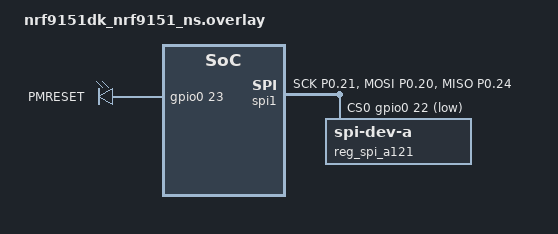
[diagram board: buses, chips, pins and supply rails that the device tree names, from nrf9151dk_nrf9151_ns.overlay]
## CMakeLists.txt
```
# SPDX-License-Identifier: Apache-2.0

cmake_minimum_required(VERSION 3.20.0)
find_package(Zephyr REQUIRED HINTS $ENV{ZEPHYR_BASE})
project(pat8002230VM)

target_sources(app PRIVATE src/main.c)
target_sources(app PRIVATE src/atm90e36aaurReadAndWrite.c)
target_sources(app PRIVATE src/powerMeterFiltering.c)
```

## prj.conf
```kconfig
#Enable logging
CONFIG_LOG=y
CONFIG_LOG_MODE_IMMEDIATE=y
CONFIG_LOG_DEFAULT_LEVEL=3
CONFIG_CBPRINTF_FP_SUPPORT=y

#Enable GPIO
CONFIG_GPIO=y

#Enable SPI
CONFIG_SPI=y
CONFIG_SPI_ASYNC=y
CONFIG_SPI_SLAVE=y

#UART1 is used for TF-M logging and must be disabled if using SPI
CONFIG_TFM_SECURE_UART=n
CONFIG_TFM_LOG_LEVEL_SILENCE=y

#Prevent the system from restarting on fatal error
CONFIG_RESET_ON_FATAL_ERROR=n

#Set the stack size
CONFIG_MAIN_STACK_SIZE=8192


#Config for making the project low power
#CONFIG_SERIAL=n
#CONFIG_TFM_LOG_LEVEL_SILENCE=y

# Heap and stacks
CONFIG_HEAP_MEM_POOL_SIZE=1024

CONFIG_SYSTEM_WORKQUEUE_STACK_SIZE=2048

CONFIG_NEWLIB_LIBC=y
CONFIG_NEWLIB_LIBC_FLOAT_PRINTF=y
```

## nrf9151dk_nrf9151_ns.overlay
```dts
/ {
	leds{
		compatible ="gpio-leds";
		led1:led_1 {
			gpios = <&gpio0 23 GPIO_ACTIVE_HIGH>;
			label = "PMRESET";
		};
	};
};

&pinctrl {
	spi_master_default: spi_master_default {
		group1 {
			psels = <NRF_PSEL(SPIM_SCK, 0, 21)>,
					<NRF_PSEL(SPIM_MOSI, 0, 20)>,
					<NRF_PSEL(SPIM_MISO, 0, 24)>;
					nordic,drive-mode = <NRF_DRIVE_H0H1>;
		};
	};

	spi_master_sleep: spi_master_sleep {
		group1 {
			psels = <NRF_PSEL(SPIM_SCK, 0, 21)>,
					<NRF_PSEL(SPIM_MOSI, 0, 20)>,
					<NRF_PSEL(SPIM_MISO, 0, 24)>;
					nordic,drive-mode = <NRF_DRIVE_H0H1>;	
			low-power-enable;
		};
	};
};

spi_a121: &spi1 {
	compatible = "nordic,nrf-spim";
	status = "okay";
	pinctrl-0 = <&spi_master_default>;
	pinctrl-1 = <&spi_master_sleep>;
	pinctrl-names = "default", "sleep";
	cs-gpios = <&gpio0 22 GPIO_ACTIVE_LOW>;
	reg_spi_a121: spi-dev-a@0 {
		reg = <0>;
	};
};

// Disable UART1, because it is used by default in TF-M
&uart1 {
	status = "disabled";
};

&button0 {
	status = "disabled";
};

&button1 {
	status = "disabled";
};

&button2 {
	status = "disabled";
};

&button3 {
	status = "disabled";
};

&led0 {
	status = "disabled";
};

&led2 {
	status = "disabled";
};

&led3 {
	status = "disabled";
};

&spi3 {
	status = "disabled";
};
```

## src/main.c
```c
#include <zephyr/kernel.h>
#include <zephyr/drivers/gpio.h>
#include <stdio.h>

#include "atm90e36aaurReadAndWrite.h"
#include "powerMeterFiltering.h"

filterData uRmsA;
filterData iRmsA;
filterData pMeanA;
filterData pfMeanA;

int main(void)
{
	printf("Main started\n");
	
	atm90e36aaurInit();
	atm90e36aaurCalibration(USE_INTERNAL_CALIBRATION_VALUES);

	while(1)
	{
		//URms
		addNewValue(atm90e36aaurGetURms(UrmsA), &uRmsA);

		//IRms
		addNewValue(atm90e36aaurGetIRms(IrmsA), &iRmsA);

		//PMean
		addNewValue(atm90e36aaurGetPMean(PmeanA), &pMeanA);

		//PFMean
		addNewValue(atm90e36aaurGetPFMean(PFmeanA), &pfMeanA);
		
		printf("Urms : %.2fV - Max %.2f - Min %.2f\nIrms : %.3fA - Max %.2f - Min %.2f\nPmean : %.2fW - Max %.2f - Min %.2f\nPFmean : %.2f - Max %.2f - Min %.2f\n", 
			getAvgValue(&uRmsA), getMaxValue(&uRmsA), getMinValue(&uRmsA),
			getAvgValue(&iRmsA), getMaxValue(&iRmsA), getMinValue(&iRmsA), 
			getAvgValue(&pMeanA), getMaxValue(&pMeanA), getMinValue(&pMeanA),
			getAvgValue(&pfMeanA), getMaxValue(&pfMeanA), getMinValue(&pfMeanA)
		);
		
		printf("\n");
		k_sleep(K_MSEC(1000));
	}
	return 0;
}
```

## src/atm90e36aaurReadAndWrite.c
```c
#include <stdbool.h>
#include <stdint.h>
#include <string.h>
#include <stdio.h>

#include <zephyr/kernel.h>
#include <zephyr/device.h>
#include <zephyr/devicetree.h>
#include <zephyr/drivers/gpio.h>
#include <zephyr/drivers/spi.h>
#include <zephyr/logging/log.h>

#include "atm90e36aaurReadAndWrite.h"

LOG_MODULE_REGISTER(atm90e36aaur,LOG_LEVEL_INF);

#define PM_RESET_N DT_ALIAS(atm90reset)

#define MY_SPI_MASTER DT_NODELABEL(spi_atm90)
#define MY_SPI_MASTER_CS_DT_SPEC SPI_CS_GPIOS_DT_SPEC_GET(DT_NODELABEL(reg_spi_a121))

#define SPI_MAX_TRANSFER_SIZE 64

char msgBuffer[128];

static const struct gpio_dt_spec pmResetN = GPIO_DT_SPEC_GET(PM_RESET_N, gpios);

const struct device *spi_dev;

static struct spi_config spi_cfg = 
{
	.operation = SPI_WORD_SET(8) | SPI_TRANSFER_MSB | SPI_OP_MODE_MASTER,
	.frequency = 125000, //This can at the most, in the case of the ATM90E36AAUR, be 150kHz according to datasheet
	.slave = 0,
	.cs = {.gpio = MY_SPI_MASTER_CS_DT_SPEC, .delay = 0},
};

int atm90e36aaurInit()
{
    int err;

	LOG_INF("atm90e36aaurInit");

	spi_dev = DEVICE_DT_GET(MY_SPI_MASTER);
	if(!device_is_ready(spi_dev))
    {
		LOG_INF("SPI master device not ready!\n");
        return -1;
	}
	struct gpio_dt_spec spim_cs_gpio = MY_SPI_MASTER_CS_DT_SPEC;
	if(!device_is_ready(spim_cs_gpio.port))
    {
		LOG_INF("SPI master chip select device not ready!\n");
        return -1;
	} 

    if (!gpio_is_ready_dt(&pmResetN)) 
	{
		LOG_ERR("Gpio not ready");
		return -1;
	} 

    err = gpio_pin_configure_dt(&pmResetN, GPIO_OUTPUT_ACTIVE);
	if (err < 0) 
	{
		LOG_ERR("Config failed");
		return -1;
	}

    err = gpio_pin_set_dt(&pmResetN,true);
	if (err != 0) 
	{
		LOG_ERR("Pin set failed");
		return -1;
	}

    k_sleep(K_SECONDS(1));

    err = gpio_pin_set_dt(&pmResetN,false);
	if (err != 0) 
	{
		LOG_ERR("Pin set failed");
		return -1;
	}

    k_sleep(K_SECONDS(1));

    err = gpio_pin_set_dt(&pmResetN,true);
	if (err != 0) 
	{
		LOG_ERR("Pin set failed");
		return -1;
	}
    
    return 0;
}


//Takes an address to read from as parameter and then returns the value read
//Do note that the reason the tx buffer uses a array with 4 index declared is due to both a quirk in the SPI Zephyr api
//And the fact that after the 2 byte address does the ATM need 16 additional clock periods to be able to return the data
int atm90e36aaurReadFromAddress(uint16_t registerAddress, char* dataFromAtm)
{
    static uint8_t txBuffer[4];

    const struct spi_buf tx_buf = 
    {
        .buf = txBuffer,
        .len = sizeof(txBuffer),
    };
    const struct spi_buf_set tx = 
    {
        .buffers = &tx_buf,
        .count = 1,
    };

    struct spi_buf rx_buf = 
    {
        .buf = dataFromAtm,
        .len = sizeof(dataFromAtm),
    };
    const struct spi_buf_set rx = 
    {
        .buffers = &rx_buf,
        .count = 1,
    };

    txBuffer[0]=(uint8_t)((registerAddress & 0xFF00) >> 8);

    //Set the msb to 1 to indicate a read sequence
    txBuffer[0] |= 1 << 7;

    txBuffer[1]=(uint8_t)(registerAddress & 0x00FF);
    txBuffer[2]=0x00;
    txBuffer[3]=0x00;
    
    int err;
    err = spi_transceive(spi_dev,&spi_cfg,&tx, &rx);
    if(err != 0)
    {
        LOG_ERR("Error occured in transceive function!");
        return -1;
    }
        
   k_sleep(K_MSEC(1));

    return 0;
}

int atm90e36aaurWriteToAddress(uint16_t registerAddress, uint16_t data)
{
    int err;
    static uint8_t txBuffer[4];
    uint16_t lastSpiSent;

    const struct spi_buf tx_buf = 
    {
        .buf = txBuffer,
        .len = sizeof(txBuffer),
    };
    const struct spi_buf_set tx = 
    {
        .buffers = &tx_buf,
        .count = 1,
    };

    txBuffer[0] = (uint8_t)((registerAddress & 0x7F00) >> 8);
    //Clear the msb to 0 to indicate a write sequence
    //txBuffer[0] &= ~(1<<7);

    txBuffer[1] = (uint8_t)(registerAddress & 0x00FF);
    txBuffer[2] = (uint8_t)((data & 0xFF00) >> 8);
    txBuffer[3] = (uint8_t)(data & 0x00FF);

    lastSpiSent = txBuffer[2]*256+txBuffer[3];

    err = spi_write(spi_dev,&spi_cfg,&tx);
        if(err != 0)
    {
        LOG_ERR("Error occurred in write function!");
        return -1;
    }
    k_sleep(K_MSEC(1));
    return 0;
}

#define DEBUG_OFFSET_VAL 0xFFFF

void calibrateGain(uint16_t measureAddress, uint16_t measureAddressLsb, uint16_t gainAddress, double reference, uint16_t intFactor, double decimalFactor)
{
    char dataFromAtmBuffer[4];

    double measuredValueDouble = 0;
    double totalMeasuredValue = 0;
    uint16_t measuredHex;
    uint16_t measuredLsbHex;
    uint16_t gainHex;    
    uint16_t returnVal;

    // Take 10 measurements and calculate the average
    for (int i = 0; i < 10; i++)
    {
        atm90e36aaurReadFromAddress(measureAddress, dataFromAtmBuffer);
        measuredHex = (uint16_t)((uint16_t)dataFromAtmBuffer[2] << 8) | (uint16_t)dataFromAtmBuffer[3];
        
        atm90e36aaurReadFromAddress(measureAddressLsb, dataFromAtmBuffer);
        measuredLsbHex = dataFromAtmBuffer[2]; // We're only interested in the higher bits

        measuredValueDouble = ((double)measuredHex * decimalFactor) + (measuredLsbHex * decimalFactor / 256);
        totalMeasuredValue += measuredValueDouble;
        k_sleep(K_MSEC(10));
    }

    double averageMeasuredValue = totalMeasuredValue / 10;

    gainHex = (reference/averageMeasuredValue) * intFactor;

    atm90e36aaurWriteToAddress(gainAddress, gainHex);

    //Debug read from atm to ensure correct value was written
    atm90e36aaurReadFromAddress(gainAddress,dataFromAtmBuffer);

    returnVal = (uint16_t) ((uint16_t) dataFromAtmBuffer[2] << 8) | (uint16_t) dataFromAtmBuffer[3];
    if(returnVal != gainHex)
    {
        LOG_ERR("Gain value read from register does not match the entered value!");
        LOG_ERR("Expected:%x, Got:%x",gainHex,returnVal);
    }
    else
    {
        LOG_INF("Gain value from ATM90E36 value:%x:%x",dataFromAtmBuffer[2],dataFromAtmBuffer[3]);
    }
}

void calibrateOffsetVoltOrCurrent(uint16_t measureAddress, uint16_t offsetAddress)
{
    char dataFromAtmBuffer[4];
    uint16_t measuredHex;
    uint16_t measured2ComplementHex;
    uint16_t returnVal;
    double totalMeasuredValue = 0;

    //Take 10 measurements and calculate the average
    for (int i = 0; i < 10; i++)
    {
        atm90e36aaurReadFromAddress(measureAddress, dataFromAtmBuffer);

        measuredHex = (uint16_t)((uint16_t)dataFromAtmBuffer[2] << 8) | (uint16_t)dataFromAtmBuffer[3];
        totalMeasuredValue += measuredHex;
    }

    uint16_t averageMeasuredHex = (uint16_t)(totalMeasuredValue / 10);

    //Calculate two's complement of the average value
    measured2ComplementHex = ~averageMeasuredHex + 1;

    atm90e36aaurWriteToAddress(offsetAddress, measured2ComplementHex);

    //Debug read from ATM to ensure correct value was written
    atm90e36aaurReadFromAddress(offsetAddress, dataFromAtmBuffer);

    returnVal = (uint16_t)((uint16_t)dataFromAtmBuffer[2] << 8) | (uint16_t)dataFromAtmBuffer[3];
    if (returnVal != measured2ComplementHex)
    {
        LOG_ERR("Offset value read from register does not match the entered value!");
        LOG_ERR("Expected:%x, Got:%x", measured2ComplementHex, returnVal);
    }
    else
    {
        LOG_INF("Offset value from ATM90E36 value:%x:%x", dataFromAtmBuffer[2], dataFromAtmBuffer[3]);
    }
}

void calibrateOffsetPower(uint16_t measureAddress, uint16_t offsetAddress)
{
    char dataFromAtmBuffer[4];

    uint16_t measuredHex;
    uint16_t measured2ComplementHex;

    uint16_t returnVal;

    atm90e36aaurReadFromAddress(measureAddress,dataFromAtmBuffer);

    measuredHex = (uint16_t) ((uint16_t) dataFromAtmBuffer[2] << 8) | (uint16_t) dataFromAtmBuffer[3];

    measured2ComplementHex = ~measuredHex + 1;

    atm90e36aaurWriteToAddress(offsetAddress, measured2ComplementHex);

    //Debug read from atm to ensure correct value was written
    atm90e36aaurReadFromAddress(offsetAddress,dataFromAtmBuffer);

    returnVal = (uint16_t) ((uint16_t) dataFromAtmBuffer[2] << 8) | (uint16_t) dataFromAtmBuffer[3];
    if(returnVal != measured2ComplementHex)
    {
        LOG_ERR("Offset value read from register does not match the entered value!");
        LOG_ERR("Expected:%x, Got:%x",measured2ComplementHex,returnVal);
    }
    else
    {
        LOG_INF("Offset value from ATM90E36 value:%x:%x",dataFromAtmBuffer[2],dataFromAtmBuffer[3]);
    }
}

//Calibrates the ATM, which must be done before normal use
//The useInternalCalibrationValues parameter is used to determine if the internal calibration values should be used or not
//If not used will it require the user to connected a reference voltage, current, power and pf to the ATM90E36A
//If used will the ATM90E36A use the internal calibration values, which are pre calibrated at the factory
int atm90e36aaurCalibration(bool useInternalCalibrationValues)
{
    char dataFromAtmBuffer[4];

    atm90e36aaurWriteToAddress(SoftReset,0x789A);

    atm90e36aaurWriteToAddress(SoftReset, 0x789A);   // Perform soft reset
    atm90e36aaurWriteToAddress(FuncEn0, 0x0000);     // Voltage sag
    atm90e36aaurWriteToAddress(FuncEn1, 0x0000);     // Voltage sag
    atm90e36aaurWriteToAddress(SagTh, 0x0001);       // Voltage sag threshold

    /* SagTh = Vth * 100 * sqrt(2) / (2 * Ugain / 32768) */
    
    //Set metering config values (CONFIG)
    atm90e36aaurWriteToAddress(ConfigStart, 0x5678); // Metering calibration startup 
    atm90e36aaurWriteToAddress(PLconstH, 0x0861);    // PL Constant MSB (default)
    atm90e36aaurWriteToAddress(PLconstL, 0xC468);    // PL Constant LSB (default)
    atm90e36aaurWriteToAddress(MMode0, 0x1087);      // Mode Config (60 Hz, 3P4W)
    atm90e36aaurWriteToAddress(MMode1, 0x0000);      // PGA gain for 4 current channels = 1 and PGA gain for all adc channels = 1x
    atm90e36aaurWriteToAddress(PStartTh, 0x0000);    // Active Startup Power Threshold
    atm90e36aaurWriteToAddress(QStartTh, 0x0000);    // Reactive Startup Power Threshold
    atm90e36aaurWriteToAddress(SStartTh, 0x0000);    // Apparent Startup Power Threshold
    atm90e36aaurWriteToAddress(PPhaseTh, 0x0000);    // Active Phase Threshold
    atm90e36aaurWriteToAddress(QPhaseTh, 0x0000);    // Reactive Phase Threshold
    atm90e36aaurWriteToAddress(SPhaseTh, 0x0000);    // Apparent  Phase Threshold
    atm90e36aaurWriteToAddress(CSZero, 0x4741);      // Checksum 0 MOD(E1D0,)
    
    //Set metering calibration values (CALIBRATION)
    atm90e36aaurWriteToAddress(CalStart, 0x5678);    // Metering calibration startup 
    atm90e36aaurWriteToAddress(GainA, 0x0000);       // Line calibration gain
    atm90e36aaurWriteToAddress(PhiA, 0x0000);        // Line calibration angle
    atm90e36aaurWriteToAddress(GainB, 0x0000);       // Line calibration gain
    atm90e36aaurWriteToAddress(PhiB, 0x0000);        // Line calibration angle
    atm90e36aaurWriteToAddress(GainC, 0x0000);       // Line calibration gain
    atm90e36aaurWriteToAddress(PhiC, 0x0000);        // Line calibration angle
    atm90e36aaurWriteToAddress(PoffsetA, 0x0000);    // A line active power offset
    atm90e36aaurWriteToAddress(QoffsetA, 0x0000);    // A line reactive power offset
    atm90e36aaurWriteToAddress(PoffsetB, 0x0000);    // B line active power offset
    atm90e36aaurWriteToAddress(QoffsetB, 0x0000);    // B line reactive power offset
    atm90e36aaurWriteToAddress(PoffsetC, 0x0000);    // C line active power offset
    atm90e36aaurWriteToAddress(QoffsetC, 0x0000);    // C line reactive power offset
    atm90e36aaurWriteToAddress(CSOne, 0x0000);       // Checksum 1
    
    //Set metering calibration values (HARMONIC)
    atm90e36aaurWriteToAddress(HarmStart, 0x5678);   // Metering calibration startup 
    atm90e36aaurWriteToAddress(POffsetAF, 0x0000);   // A Fund. active power offset
    atm90e36aaurWriteToAddress(POffsetBF, 0x0000);   // B Fund. active power offset
    atm90e36aaurWriteToAddress(POffsetCF, 0x0000);   // C Fund. active power offset
    atm90e36aaurWriteToAddress(PGainAF, 0x0000);     // A Fund. active power gain
    atm90e36aaurWriteToAddress(PGainBF, 0x0000);     // B Fund. active power gain
    atm90e36aaurWriteToAddress(PGainCF, 0x0000);     // C Fund. active power gain
    atm90e36aaurWriteToAddress(CSTwo, 0x0000);       // Checksum 2 
    atm90e36aaurReadFromAddress(SysStatus0,dataFromAtmBuffer);
    LOG_INF("SysStatus0:%x:%x",dataFromAtmBuffer[2],dataFromAtmBuffer[3]);

    //Set measurement calibration values (ADJUST)
    atm90e36aaurWriteToAddress(AdjStart, 0x5678);    // Measurement calibration

    
    if(useInternalCalibrationValues == true)
    {
       //Use internal calibration values
       LOG_INF("Using internal calibration values");
       atm90e36aaurWriteToAddress(UgainA, CALIBRATION_VOLTAGE_GAIN_FACTORY);           // Line calibration gain
       atm90e36aaurWriteToAddress(UoffsetA, CALIBRATION_VOLTAGE_OFFSET_FACTORY);       // Line calibration offset
       atm90e36aaurWriteToAddress(IgainA, CALIBRATION_CURRENT_GAIN_FACTORY);           // Line calibration gain
       atm90e36aaurWriteToAddress(IoffsetA, CALIBRATION_CURRENT_OFFSET_FACTORY);       // Line calibration offset

       atm90e36aaurWriteToAddress(UgainB, CALIBRATION_VOLTAGE_GAIN_FACTORY);           // Line calibration gain
       atm90e36aaurWriteToAddress(UoffsetB, CALIBRATION_VOLTAGE_OFFSET_FACTORY);       // Line calibration offset
       atm90e36aaurWriteToAddress(IgainB, CALIBRATION_CURRENT_GAIN_FACTORY);           // Line calibration gain
       atm90e36aaurWriteToAddress(IoffsetB, CALIBRATION_CURRENT_OFFSET_FACTORY);       // Line calibration offset

       atm90e36aaurWriteToAddress(UgainC, CALIBRATION_VOLTAGE_GAIN_FACTORY);           // Line calibration gain
       atm90e36aaurWriteToAddress(UoffsetC, CALIBRATION_VOLTAGE_OFFSET_FACTORY);       // Line calibration offset
       atm90e36aaurWriteToAddress(IgainC, CALIBRATION_CURRENT_GAIN_FACTORY);           // Line calibration gain
       atm90e36aaurWriteToAddress(IoffsetC, CALIBRATION_CURRENT_OFFSET_FACTORY);       // Line calibration offset

       atm90e36aaurWriteToAddress(IgainN, CALIBRATION_CURRENT_OFFSET_FACTORY_N);       // Line calibration gain
    }
    else
    {
        //Use external calibration values
        LOG_INF("Using external calibration values");
        LOG_INF("Calibrating UgainA");
        calibrateGain(UrmsA, UrmsALSB, UgainA, CALIBRATION_VOLTAGE, 52800, 0.01);

        LOG_INF("Calibrating UoffsetA");
        calibrateOffsetVoltOrCurrent(UrmsA, UoffsetA);

        LOG_INF("Calibrating IgainA");
        calibrateGain(IrmsA, IrmsALSB, IgainA, CALIBRATION_CURRENT, 30000, 0.001);

        LOG_INF("Calibrating IoffsetA");
        calibrateOffsetVoltOrCurrent(IrmsA, IoffsetA);


        LOG_INF("Calibrating UgainB");
        calibrateGain(UrmsB, UrmsBLSB, UgainB, CALIBRATION_VOLTAGE, 52800, 0.01);
        
        LOG_INF("Calibrating UoffsetB");
        calibrateOffsetVoltOrCurrent(UrmsB, UoffsetB);

        LOG_INF("Calibrating IgainB");
        calibrateGain(IrmsB, IrmsBLSB, IgainB, CALIBRATION_CURRENT, 30000, 0.001);

        LOG_INF("Calibrating IoffsetB");
        calibrateOffsetVoltOrCurrent(IrmsB, IoffsetB);


        LOG_INF("Calibrating UgainC");
        calibrateGain(UrmsC, UrmsCLSB, UgainC, CALIBRATION_VOLTAGE, 52800, 0.01);

        LOG_INF("Calibrating UoffsetC");
        calibrateOffsetVoltOrCurrent(UrmsC, UoffsetC);

        LOG_INF("Calibrating IgainC");
        calibrateGain(IrmsC, IrmsCLSB, IgainC, CALIBRATION_CURRENT, 30000, 0.001);

        LOG_INF("Calibrating IoffsetC");
        calibrateOffsetVoltOrCurrent(IrmsC, IoffsetC);


        LOG_INF("Calibrating IgainN");
        calibrateGain(IrmsN1, IrmsN0, IgainN, CALIBRATION_CURRENT, 30000, 0.001);
    }
    

    atm90e36aaurWriteToAddress(CSThree, 0x0000);     // Checksum 3
    atm90e36aaurReadFromAddress(SysStatus0,dataFromAtmBuffer);
    LOG_INF("SysStatus0:%x:%x",dataFromAtmBuffer[2],dataFromAtmBuffer[3]);

    // Done with the configuration
    atm90e36aaurWriteToAddress(ConfigStart, 0x8765);
    atm90e36aaurWriteToAddress(CalStart, 0x8765);    // 0x6886 //0x5678 //8765);
    atm90e36aaurWriteToAddress(HarmStart, 0x8765);   // 0x6886 //0x5678 //8765);    
    atm90e36aaurWriteToAddress(AdjStart, 0x8765);    // 0x6886 //0x5678 //8765);  

    k_sleep(K_MSEC(1000));
    return 0; 
}


/*
From datasheet:
Complement, MSB as the sign bit XX.XXX kW
1LSB corresponds to 1Watt for phase A/B/C, and 4Watt for Total (all-phase-sum)
*/
float convertPmeanToFloat(char* inputData)
{
    int16_t calculatedValueBuffer;
	float calculatedValue;

    calculatedValueBuffer = (inputData[2]*256+inputData[3]);
    //printf("%d:%d:%d:%d\n",inputData[0], inputData[1], inputData[2], inputData[3]);

    if(calculatedValueBuffer & 0x8000)
    {
        calculatedValueBuffer = (calculatedValueBuffer & 0x7FFF) * -1;
    }

    calculatedValue = calculatedValueBuffer;//*0.00032; //1 lsb = 0.00032W
   // calculatedValue = calculatedValue * 1000; //Convert to mW
    

    return calculatedValue;
}

/*
From datasheet:
Signed, MSB as the sign bit X.XXX
LSB is 0.001. Range from -1000 to +1000
*/
float convertPFmeanToFloat(char* inputData)
{
    int16_t calculatedValueBuffer;
	float calculatedValue;

    calculatedValueBuffer = (inputData[2]*256+inputData[3]);

    if(calculatedValueBuffer & 0x8000)
    {
        calculatedValueBuffer = (calculatedValueBuffer & 0x7FFF) * -1;
        
    }

    calculatedValue = (float)calculatedValueBuffer / 1000.0;

    return calculatedValue;
}

/*
From datasheet:
1LSB corresponds to 0.01 V
*/
float convertURmsToFloat(float inputData)
{
    //float calculatedValueBuffer;
	float calculatedValue;

    //calculatedValueBuffer = (inputData[2]*256+inputData[3]);
	calculatedValue = inputData/100;

    return calculatedValue;
}

/*
From datasheet:
unsigned 16-bit integer with unit of 0.001A
1LSB corresponds to 0.001 A 
*/
float convertIRmsToFloat(float inputData)
{
    //float calculatedValueBuffer;
	float calculatedValue;

    //calculatedValueBuffer = (inputData[2]*256+inputData[3]);
	calculatedValue = inputData/1000;

    return calculatedValue;
}

float atm90e36aaurGetURms(int uRmsAddress)
{
    char dataFromAtmBuffer[4];
    uint16_t measuredHex;
    uint16_t measured2ComplementHex;
    uint16_t returnVal;
    double totalMeasuredValue = 0;

    //Take 10 measurements and calculate the average
    for (int i = 0; i < 10; i++)
    {
        atm90e36aaurReadFromAddress(uRmsAddress, dataFromAtmBuffer);

        measuredHex = (uint16_t)((uint16_t)dataFromAtmBuffer[2] << 8) | (uint16_t)dataFromAtmBuffer[3];
        totalMeasuredValue += measuredHex;
    }

    double averageMeasuredValue = totalMeasuredValue / 10;
    
    return(convertURmsToFloat(averageMeasuredValue));
}

//Functions for getting different values from the ATM90E36A
//These functions will read the data from the ATM90E36A, convert it to a float and return it
//The functions will take the address of the register to read from as a parameter
float atm90e36aaurGetIRms(int iRmsAddress)
{
    char dataFromAtmBuffer[4];
    uint16_t measuredHex;
    uint16_t measured2ComplementHex;
    uint16_t returnVal;
    double totalMeasuredValue = 0;

    //Take 10 measurements and calculate the average
    for (int i = 0; i < 10; i++)
    {
        atm90e36aaurReadFromAddress(iRmsAddress, dataFromAtmBuffer);

        measuredHex = (uint16_t)((uint16_t)dataFromAtmBuffer[2] << 8) | (uint16_t)dataFromAtmBuffer[3];
        totalMeasuredValue += measuredHex;
    }

    double averageMeasuredValue = totalMeasuredValue / 10;
    
    return(convertIRmsToFloat(averageMeasuredValue));
}

float atm90e36aaurGetPMean(int pMeanAddress)
{
    char dataFromAtmBuffer[4];
    double totalMeasuredValue = 0;

    for(int i = 0; i < 10; i++)
    {
        atm90e36aaurReadFromAddress(pMeanAddress,dataFromAtmBuffer);
        totalMeasuredValue += convertPmeanToFloat(dataFromAtmBuffer);
    }

    double averageMeasuredValue = totalMeasuredValue / 10;

    return averageMeasuredValue;  
}


float atm90e36aaurGetPFMean(int pfMeanAddress)
{
    char dataFromAtmBuffer[4];
    float totalMeasuredValue = 0;

    for(int i = 0; i < 10; i++)
    {
        atm90e36aaurReadFromAddress(pfMeanAddress,dataFromAtmBuffer);
        totalMeasuredValue += convertPFmeanToFloat(dataFromAtmBuffer);
    }

    double averageMeasuredValue = totalMeasuredValue / 10;

    return averageMeasuredValue;  
}
```

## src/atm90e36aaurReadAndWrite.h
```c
#ifndef ATM90E36A_AU_R_H
#define ATM90E36A_AU_R_H

#include <inttypes.h>
#include "atm90e36aaurRegisterAddress.h"

//Used for calibrating the ATM90E36A if not using the already defined calibration values
//The calibration values are used to calibrate the ATM90E36A to the reference voltage and current
#define CALIBRATION_VOLTAGE 232.0
#define CALIBRATION_CURRENT 0.177

//Factory defined calibration values
#define CALIBRATION_VOLTAGE_GAIN_FACTORY 0xC964
#define CALIBRATION_CURRENT_GAIN_FACTORY 0x0C19
#define CALIBRATION_VOLTAGE_OFFSET_FACTORY 0xA334
#define CALIBRATION_CURRENT_OFFSET_FACTORY 0xF94E
#define CALIBRATION_CURRENT_OFFSET_FACTORY_N 0xB57A

#define USE_INTERNAL_CALIBRATION_VALUES true
#define USE_EXTERNAL_CALIBRATION_VALUES false


#ifdef __cplusplus
extern "C" {
#endif
//Init funciton, sets up the SPI
int atm90e36aaurInit();
//Calibration function, sets up the ATM90E36A for calibration. This is done by writing to the registers in the ATM90E36A.
int atm90e36aaurCalibration(bool useInternalCalibrationValues);

//Mostly helper functions internally in the module, however can be used to "manually" access registers
int atm90e36aaurReadFromAddress(uint16_t registerAddress, char* dataFromAtm);
int atm90e36aaurWriteToAddress(uint16_t registerAddress, uint16_t data);




//Functions that gets different data. They will all fetch, convert and populate a struct with the corresponding data
float atm90e36aaurGetPMean(int pMeanAddress);
float atm90e36aaurGetPFMean(int pfMeanAddress);
float atm90e36aaurGetURms(int uRmsAddress);
float atm90e36aaurGetIRms(int iRmsAddress);

#ifdef __cplusplus
}
#endif

#endif //ATM90E36A_AU_R_H
```

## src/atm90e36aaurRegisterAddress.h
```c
/* STATUS REGISTERS */
#define SoftReset 0x00 		// Software Reset
#define SysStatus0 0x01 	// System Status0
#define SysStatus1 0x02 	// System Status1
#define FuncEn0 0x03 		// Function Enable0
#define FuncEn1 0x04 		// Function Enable1
#define ZXConfig 0x07 		// Zero-Crossing Config
#define SagTh 0x08 			// Voltage Sag Th
#define PhaseLossTh 0x09 	// Voltage Phase Losing Th
#define INWarnTh0 0x0A 		// N Current Line Th
#define INWarnTh1 0x0B 		// Voltage ADC Th
#define THDNUTh 0x0C		// Voltage THD Th
#define THDNITh 0x0D		// Current THD Th
#define DMACtrl 0x0E		// DMA Int. Control 
#define LastSPIData 0x0F 	// Last Read/Write SPI Value

/* LOW POWER MODE REGISTERS - NOT USED */
#define DetectCtrl 0x10
#define DetectTh1 0x11
#define DetectTh2 0x12
#define DetectTh3 0x13
#define	PMOffsetA 0x14
#define	PMOffsetB 0x15
#define	PMOffsetC 0x16
#define	PMPGA 0x17
#define	PMIrmsA 0x18
#define	PMIrmsB 0x19
#define	PMIrmsC 0x1A
#define	PMConfig 0x10B
#define	PMAvgSamples 0x1C
#define PMIrmsLSB 0x1D

/* CONFIGURATION REGISTERS */
#define ConfigStart 0x30 	// Configuration Start
#define PLconstH 0x31 		// High Word of PL_Constant
#define PLconstL 0x32 		// Low Word of PL_Constant
#define MMode0 0x33 		// Metering Mode Config
#define MMode1 0x34 		// Metering Mode Config
#define PStartTh 0x35 		// Startup Power Th (P)
#define QStartTh 0x36 		// Startup Power Th (Q)
#define SStartTh 0x37		// Startup Power Th (S)
#define PPhaseTh 0x38 		// Startup Power Accum Th (P)
#define QPhaseTh 0x39		// Startup Power Accum Th (Q)
#define SPhaseTh 0x3A		// Startup Power Accum Th (S)
#define CSZero 0x3B			// Checksum 0

/* CALIBRATION REGISTERS */
#define CalStart 0x40 		// Cal Start
#define PoffsetA 0x41 		// A Line Power Offset (P)
#define QoffsetA 0x42 		// A Line Power Offset (Q)
#define PoffsetB 0x43 		// B Line Power Offset (P)
#define QoffsetB 0x44 		// B Line Power Offset (Q)
#define PoffsetC 0x45 		// C Line Power Offset (P)
#define QoffsetC 0x46 		// C Line Power Offset (Q)
#define GainA 0x47 			// A Line Calibration Gain
#define PhiA 0x48  			// A Line Calibration Angle
#define GainB 0x49 			// B Line Calibration Gain
#define PhiB 0x4A  			// B Line Calibration Angle
#define GainC 0x4B 			// C Line Calibration Gain
#define PhiC 0x4C  			// C Line Calibration Angle
#define CSOne 0x4D 			// Checksum 1

/* HARMONIC & ENERGY REGISTERS */
#define HarmStart 0x50		// Harmonic Cal Start
#define	POffsetAF 0x51		// A Fund Power Offset (P)
#define POffsetBF 0x52		// B Fund Power Offset (P)
#define	POffsetCF 0x53		// C Fund Power Offset (P)
#define PGainAF	0x54		// A Fund Power Gain (P)
#define	PGainBF	0x55		// B Fund Power Gain (P)
#define PGainCF	0x56		// C Fund Power Gain (P)
#define CSTwo 0x57 			// Checksum 2

/* MEASUREMENT CALIBRATION REGISTERS */
#define AdjStart 0x60 		// Measurement Cal Start
#define UgainA 0x61 		// A Voltage RMS Gain
#define IgainA 0x62 		// A Current RMS Gain
#define UoffsetA 0x63 		// A Voltage Offset
#define IoffsetA 0x64 		// A Current Offset
#define UgainB 0x65 		// B Voltage RMS Gain
#define IgainB 0x66 		// B Current RMS Gain
#define UoffsetB 0x67 		// B Voltage Offset
#define IoffsetB 0x68 		// B Current Offset
#define UgainC 0x69 		// C Voltage RMS Gain
#define IgainC 0x6A 		// C Current RMS Gain
#define UoffsetC 0x6B 		// C Voltage Offset
#define IoffsetC 0x6C 		// C Current Offset
#define IgainN 0x6D 		// N Current Gain
#define IoffsetN 0x6E 		// N Current Offset
#define CSThree 0x6F 		// Checksum 3

/* ENERGY REGISTERS */
#define APenergyT 0x80 		// Total Forward Active	
#define APenergyA 0x81 		// A Forward Active
#define APenergyB 0x82 		// B Forward Active
#define APenergyC 0x83 		// C Forward Active
#define ANenergyT 0x84 		// Total Reverse Active	
#define ANenergyA 0x85 		// A Reverse Active
#define ANenergyB 0x86 		// B Reverse Active
#define ANenergyC 0x87 		// C Reverse Active
#define RPenergyT 0x88 		// Total Forward Reactive
#define RPenergyA 0x89 		// A Forward Reactive
#define RPenergyB 0x8A 		// B Forward Reactive
#define RPenergyC 0x8B 		// C Forward Reactive
#define RNenergyT 0x8C 		// Total Reverse Reactive
#define RNenergyA 0x8D 		// A Reverse Reactive
#define RNenergyB 0x8E 		// B Reverse Reactive
#define RNenergyC 0x8F 		// C Reverse Reactive

#define SAenergyT 0x90 		// Total Apparent Energy
#define SenergyA 0x91  		// A Apparent Energy		
#define SenergyB 0x92 		// B Apparent Energy
#define SenergyC 0x93 		// C Apparent Energy
#define SVenergyT 0x94 		// Total Apparent Energy (Arit)

#define EnStatus0 0x95 		// Metering Status 0
#define EnStatus1 0x96 		// Metering Status 1
///////////////// 0x97	    // Reserved Register 
#define SVmeanT 0x98  		// Total Apparent Energy (Vect)
#define SVmeanTLSB 0x99		// LSB of Vector Sum

/* FUNDAMENTAL / HARMONIC ENERGY REGISTERS */
#define APenergyTF 0xA0 	// Total Forward Fund. Energy
#define	APenergyAF 0xA1 	// A Forward Fund. Energy
#define APenergyBF 0xA2 	// B Forward Fund. Energy
#define APenergyCF 0xA3 	// C Forward Fund. Energy
#define ANenergyTF 0xA4  	// Total Reverse Fund Energy
#define ANenergyAF 0xA5 	// A Reverse Fund. Energy
#define ANenergyBF 0xA6 	// B Reverse Fund. Energy 
#define ANenergyCF 0xA7 	// C Reverse Fund. Energy
#define APenergyTH 0xA8 	// Total Forward Harm. Energy
#define APenergyAH 0xA9 	// A Forward Harm. Energy
#define	APenergyBH 0xAA 	// B Forward Harm. Energy
#define APenergyCH 0xAB 	// C Forward Harm. Energy
#define ANenergyTH 0xAC 	// Total Reverse Harm. Energy
#define ANenergyAH 0xAD  	// A Reverse Harm. Energy
#define ANenergyBH 0xAE  	// B Reverse Harm. Energy
#define ANenergyCH 0xAF  	// C Reverse Harm. Energy

/* POWER & P.F. REGISTERS */
#define PmeanT 0xB0 		// Total Mean Power (P)
#define PmeanA 0xB1 		// A Mean Power (P)
#define PmeanB 0xB2 		// B Mean Power (P)
#define PmeanC 0xB3 		// C Mean Power (P)
#define QmeanT 0xB4 		// Total Mean Power (Q)
#define QmeanA 0xB5 		// A Mean Power (Q)
#define QmeanB 0xB6 		// B Mean Power (Q)
#define QmeanC 0xB7 		// C Mean Power (Q)
#define SmeanT 0xB8 		// Total Mean Power (S)
#define SmeanA 0xB9 		// A Mean Power (S)
#define SmeanB 0xBA 		// B Mean Power (S)
#define SmeanC 0xBB 		// C Mean Power (S)
#define PFmeanT 0xBC 		// Mean Power Factor
#define PFmeanA 0xBD 		// A Power Factor
#define PFmeanB 0xBE 		// B Power Factor
#define PFmeanC 0xBF 		// C Power Factor

#define PmeanTLSB 0xC0 		// Lower Word (Tot. Act. Power)
#define	PmeanALSB 0xC1 		// Lower Word (A Act. Power)
#define PmeanBLSB 0xC2 		// Lower Word (B Act. Power)
#define PmeanCLSB 0xC3 		// Lower Word (C Act. Power)
#define QmeanTLSB 0xC4 		// Lower Word (Tot. React. Power)
#define QmeanALSB 0xC5 		// Lower Word (A React. Power)
#define QmeanBLSB 0xC6 		// Lower Word (B React. Power)
#define QmeanCLSB 0xC7 		// Lower Word (C React. Power)
#define SAmeanTLSB 0xC8 	// Lower Word (Tot. App. Power)
#define	SmeanALSB 0xC9 		// Lower Word (A App. Power)
#define SmeanBLSB 0xCA 		// Lower Word (B App. Power)
#define SmeanCLSB 0xCB 		// Lower Word (C App. Power)

/* FUND/HARM POWER & V/I RMS REGISTERS */
#define PmeanTF 0xD0 		// Total Active Fund. Power
#define PmeanAF 0xD1 		// A Active Fund. Power
#define PmeanBF 0xD2 		// B Active Fund. Power
#define PmeanCF 0xD3 		// C Active Fund. Power
#define PmeanTH 0xD4 		// Total Active Harm. Power
#define	PmeanAH 0xD5 		// A Active Harm. Power
#define PmeanBH 0xD6 		// B Active Harm. Power
#define PmeanCH 0xD7 		// C Active Harm. Power
#define IrmsN1 0xD8 		// N Sampled Current
#define UrmsA 0xD9 			// A RMS Voltage
#define UrmsB 0xDA 			// B RMS Voltage
#define UrmsC 0xDB 			// C RMS Voltage
#define IrmsN0 0xDC 		// N Calculated Current (USE)
#define IrmsA 0xDD 			// A RMS Current
#define IrmsB 0xDE 			// B RMS Current
#define IrmsC 0xDF 			// C RMS Current

#define PmeanTFLSB 0xE0		// Lower Word (Tot. Act. Fund. Power)
#define PmeanAFLSB 0xE1		// Lower Word (A Act. Fund. Power) 
#define PmeanBFLSB 0xE2		// Lower Word (B Act. Fund. Power)
#define PmeanCFLSB 0xE3		// Lower Word (C Act. Fund. Power)
#define PmeanTHLSB 0xE4		// Lower Word (Tot. Act. Harm. Power)
#define PmeanAHLSB 0xE5		// Lower Word (A Act. Harm. Power)
#define PmeanBHLSB 0xE6		// Lower Word (B Act. Harm. Power)
#define PmeanCHLSB 0xE7		// Lower Word (C Act. Harm. Power)
///////////////// 0xE8	    // Reserved Register 
#define UrmsALSB 0xE9		// Lower Word (A RMS Voltage)
#define UrmsBLSB 0xEA		// Lower Word (B RMS Voltage)
#define UrmsCLSB 0xEB		// Lower Word (C RMS Voltage)
///////////////// 0xEC	    // Reserved Register	
#define IrmsALSB 0xED		// Lower Word (A RMS Current)
#define IrmsBLSB 0xEE		// Lower Word (B RMS Current)
#define IrmsCLSB 0xEF		// Lower Word (C RMS Current)

/* THD, FREQUENCY, ANGLE & TEMP REGISTERS*/
#define THDNUA 0xF1 		// A Voltage THD+N
#define THDNUB 0xF2 		// B Voltage THD+N
#define THDNUC 0xF3 		// C Voltage THD+N
///////////////// 0xF4	    // Reserved Register	
#define THDNIA 0xF5 		// A Current THD+N
#define THDNIB 0xF6 		// B Current THD+N
#define THDNIC 0xF7 		// V Current THD+N
#define Freq 0xF8 			// Frequency
#define PAngleA 0xF9 		// A Mean Phase Angle
#define PAngleB 0xFA 		// B Mean Phase Angle
#define PAngleC 0xFB 		// C Mean Phase Angle
#define Temp 0xFC			// Measured Temperature
#define UangleA 0xFD		// A Voltage Phase Angle
#define UangleB 0xFE		// B Voltage Phase Angle
#define UangleC 0xFF		// C Voltage Phase Angle
```

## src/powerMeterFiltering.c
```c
#include <stdbool.h>
#include <stdint.h>
#include <string.h>
#include <stdio.h>

#include <zephyr/kernel.h>
#include <zephyr/device.h>
#include <zephyr/devicetree.h>
#include <zephyr/drivers/gpio.h>
#include <zephyr/drivers/spi.h>
#include <zephyr/logging/log.h>

#include "powerMeterFiltering.h"

LOG_MODULE_REGISTER(powerMeterFiltering,LOG_LEVEL_INF);


void calculateAvgValue(filterData* filterData)
{
    float sum = 0.0;
    for(int i = 0; i <= sizeof(filterData->valuesBuffer) / sizeof(filterData->valuesBuffer[0]); i++)
    {
        sum += filterData->valuesBuffer[i];
    }

    filterData->avgValue = sum / (sizeof(filterData->valuesBuffer) / sizeof(filterData->valuesBuffer[0]));
}

void calculateMinValue(filterData* filterData)
{
    if (filterData->bufferIndex > 0) 
    {
        // Start with the first valid element as the initial minimum value
        filterData->minValue = filterData->valuesBuffer[0];
   
        // Loop through the entire buffer to test for the minimum value
        for (int i = 0; i < sizeof(filterData->valuesBuffer) / sizeof(filterData->valuesBuffer[0]); i++) 
        {
            if (filterData->valuesBuffer[i] < filterData->minValue) 
            {
                // Update the minValue if the current value is less than the current minValue
                filterData->minValue = filterData->valuesBuffer[i];
            }
        }
    }
}

void calculateMaxValue(filterData* filterData)
{
    for(int i = 0; i < sizeof(filterData->valuesBuffer) / sizeof(filterData->valuesBuffer[0]); i++)
    {
        if(filterData->valuesBuffer[i] > filterData->maxValue)
        {
            // Update the maxValue if the current value is greater than the maxValue
            filterData->maxValue = filterData->valuesBuffer[i];
        }
    }
}

//Add a new value to the buffer and check if the buffer is full
//If it is full reset the index to 0 and add the new value
void addNewValue(float newValue, filterData* filterData)
{
    // Check if the buffer is full
    if(filterData->bufferIndex >= sizeof(filterData->valuesBuffer) / sizeof(filterData->valuesBuffer[0]))
    {
        // Reset the buffer index to 0
        filterData->bufferIndex = 0;
    }
    filterData->valuesBuffer[filterData->bufferIndex] = newValue;

    calculateAvgValue(filterData);
    calculateMaxValue(filterData);
    calculateMinValue(filterData);
    filterData->newestValue = filterData->valuesBuffer[filterData->bufferIndex];
    filterData->OldestValue = filterData->valuesBuffer[0];

    filterData->bufferIndex++;
}

float getNewestValue(filterData* filterData)
{
    return filterData->newestValue;
}

float getOldestValue(filterData* filterData)
{
    return filterData->OldestValue;
}

float getMinValue(filterData* filterData)
{
    return filterData->minValue;
}

float getMaxValue(filterData* filterData)
{
    return filterData->maxValue;
}


float getAvgValue(filterData* filterData)
{
    return filterData->avgValue;
}
```

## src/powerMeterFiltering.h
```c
#ifndef POWER_METER_FILTERING_H
#define POWER_METER_FILTERING_H

//Global macros used by the .c module which needs to easily be modified by the user

//Include libraries needed for the header to compile, often simple libraries like inttypes.h
#include <inttypes.h>

//Global variables that needs to be accessed outside the modules scope
//Filter structure used to filter the power meter values
//This needs to be declared for each value that should be filtered
typedef struct 
{
    float newValue; //New value from the power meter

    float newestValue; //Current value from the power meter
    float OldestValue; //Previous value from the power meter

    float minValue; //Min value of the variable
    float maxValue; //Max value of the variable
    float avgValue; //Average value of the variable

    float valuesBuffer[16]; //Buffer for the values to be filtered
    uint8_t bufferIndex; //Index for the buffer

} filterData;



#ifdef __cplusplus
extern "C" {
#endif
//Functions that should be accessible from the outside 

void addNewValue(float newValue, filterData* filterData);

float getNewestValue(filterData* filterData);

float getOldestValue(filterData* filterData);

float getMinValue(filterData* filterData);

float getMaxValue(filterData* filterData);

float getAvgValue(filterData* filterData);

#ifdef __cplusplus
}
#endif

#endif //POWER_METER_FILTERING_H
```
